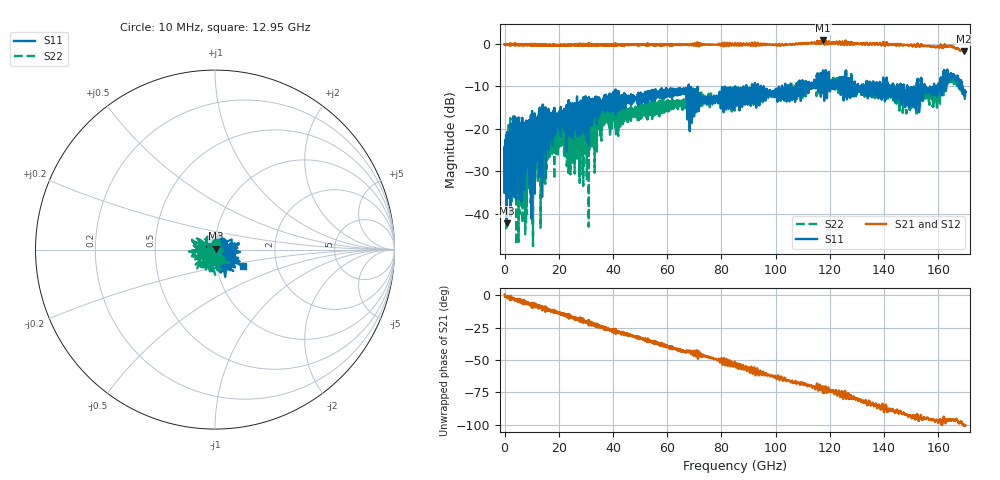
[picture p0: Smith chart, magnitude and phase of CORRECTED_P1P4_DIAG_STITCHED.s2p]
! Generated by Phase II Calibration
# Hz S RI R 50
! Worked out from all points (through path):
!   4072 points, 10 MHz to 170 GHz, reference 50 ohm
!   highest |S21| = 0.84 dB at 117.6 GHz (marker M1); lowest = -1.7 dB at 169.6 GHz (marker M2)
!   group delay of S21, straight-line fit = 1.65 ps
!   lowest |S11| = -42.3 dB at 847.4 MHz (marker M3), VSWR 1.02, Z = 50.6 + j0.482 ohm
!   |S11| at or under -10 dB: start of sweep to 67.84 GHz; 68 GHz to 81.21 GHz (13.21 GHz wide, 17.7 % of centre); 95.69 GHz to 102.2 GHz (6.542 GHz wide, 6.61 % of centre)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
!   |S22| runs from -47.6 to -6.2 dB; largest |S21 - S12| = 0.02
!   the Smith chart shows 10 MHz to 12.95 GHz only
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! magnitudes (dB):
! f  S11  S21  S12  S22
! 10 MHz  -24.7  0.0  0.0  -28.8
! 847.4 MHz  -42.3  -0.1  -0.1  -30.3
! 2.773 GHz  -24.4  -0.2  -0.2  -22.5
! 6.751 GHz  -19.5  -0.2  -0.2  -23.5
! 12.36 GHz  -25.2  -0.3  -0.3  -23.8
! 20.07 GHz  -19.0  -0.2  -0.2  -19.8
! 28.36 GHz  -15.0  -0.1  -0.1  -19.1
! 38.03 GHz  -15.5  -0.3  -0.3  -15.8
! 56.7 GHz  -11.6  -0.2  -0.2  -14.7
! 66.33 GHz  -11.2  -0.2  -0.2  -14.0
! 69.11 GHz  -18.3  -0.2  -0.2  -14.3
! 85.05 GHz  -10.1  0.2  0.1  -11.9
! 102.6 GHz  -11.2  -0.1  -0.1  -11.6
! 113.3 GHz  -9.2  0.3  0.3  -10.0
! 117.6 GHz  -6.5  0.8  0.8  -6.6
! 141.7 GHz  -12.4  -0.3  -0.2  -12.2
! 148.8 GHz  -10.8  -0.2  -0.2  -11.2
! 153.1 GHz  -12.7  -0.6  -0.6  -13.7
! 157.3 GHz  -10.4  -0.5  -0.5  -10.8
! 164 GHz  -8.5  -0.5  -0.4  -7.1
! 169.6 GHz  -11.1  -1.7  -1.7  -11.9
! 170 GHz  -11.4  -1.7  -1.7  -11.8
